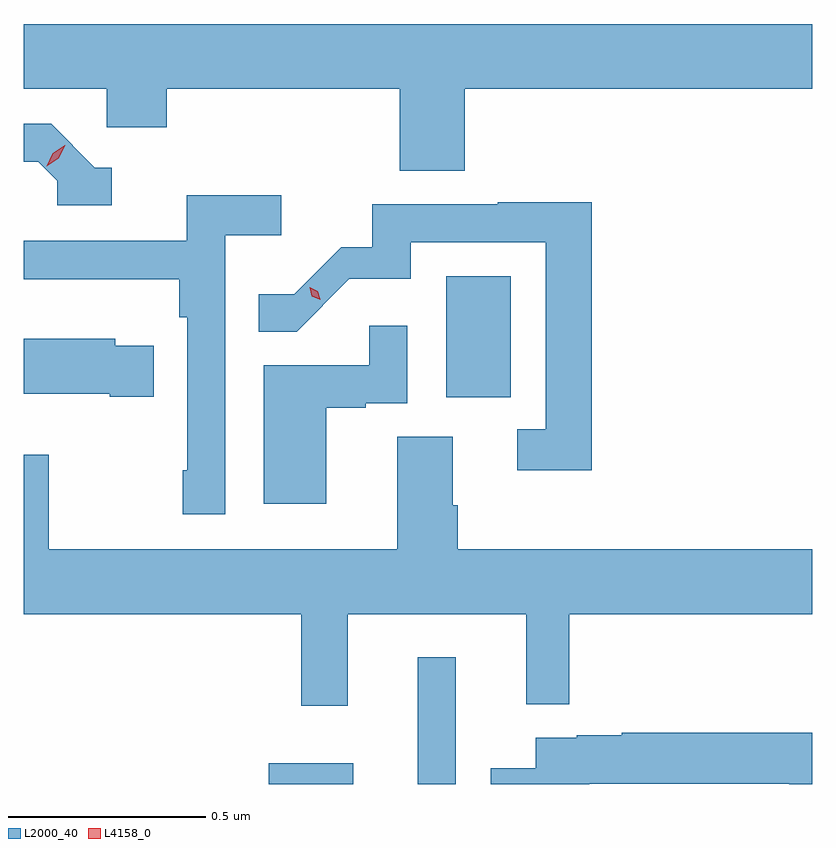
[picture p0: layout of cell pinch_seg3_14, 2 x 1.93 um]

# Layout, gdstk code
import gdstk
lib = gdstk.Library(unit=1e-6, precision=1e-09)
def R(c, l, rs):  # rectangles x0, y0, x1, y1
    for r in rs: c.add(gdstk.rectangle(r[:2], r[2:], *l))
def P(c, l, *ps):  # polygons
    for p in ps: c.add(gdstk.Polygon(p, *l))
L2000_40 = (2000, 40)
L4158_0 = (4158, 0)

pinch_seg3_14 = lib.new_cell('pinch_seg3_14')
R(pinch_seg3_14, L2000_40, [(1124.84,731.121,1125.055,731.173), (1125.218,731.121,1125.315,731.443), (1125.29,732.102,1125.454,732.409)])
P(pinch_seg3_14, L2000_40, [(1125.338,732.884),(1126.219,732.884),(1126.219,733.048),(1124.219,733.048),(1124.219,732.884),(1124.43,732.884),(1124.43,732.786),(1124.582,732.786),(1124.582,732.884),(1125.173,732.884),(1125.173,732.676),(1125.338,732.676)],
  [(1124.443,732.684),(1124.4,732.684),(1124.289,732.795),(1124.219,732.795),(1124.219,732.699),(1124.256,732.699),(1124.304,732.651),(1124.304,732.588),(1124.443,732.588)],
  [(1124.73,732.512),(1124.872,732.512),(1124.872,732.614),(1124.633,732.614),(1124.633,732.498),(1124.219,732.498),(1124.219,732.401),(1124.614,732.401),(1124.614,732.305),(1124.634,732.305),(1124.634,731.917),(1124.622,731.917),(1124.622,731.805),(1124.73,731.805)],
  [(1125.659,732.596),(1125.421,732.596),(1125.421,732.591),(1125.103,732.591),(1125.103,732.482),(1125.024,732.482),(1124.905,732.363),(1124.815,732.363),(1124.815,732.268),(1124.911,732.268),(1125.045,732.402),(1125.201,732.402),(1125.201,732.495),(1125.543,732.495),(1125.543,732.021),(1125.471,732.021),(1125.471,731.916),(1125.659,731.916)],
  [(1124.986,732.075),(1125.086,732.075),(1125.086,732.087),(1125.192,732.087),(1125.192,732.283),(1125.096,732.283),(1125.096,732.183),(1124.828,732.183),(1124.828,731.832),(1124.986,731.832)],
  [(1124.549,732.232),(1124.451,732.232),(1124.451,732.25),(1124.219,732.25),(1124.219,732.11),(1124.438,732.11),(1124.438,732.103),(1124.549,732.103)],
  [(1125.041,731.552),(1125.494,731.552),(1125.494,731.323),(1125.602,731.323),(1125.602,731.552),(1126.219,731.552),(1126.219,731.716),(1125.32,731.716),(1125.32,731.828),(1125.307,731.828),(1125.307,732.002),(1125.167,732.002),(1125.167,731.716),(1124.283,731.716),(1124.283,731.956),(1124.219,731.956),(1124.219,731.552),(1124.923,731.552),(1124.923,731.319),(1125.041,731.319)],
  [(1125.653,731.122),(1126.16,731.122),(1126.16,731.121),(1126.219,731.121),(1126.219,731.251),(1125.736,731.251),(1125.736,731.244),(1125.622,731.244),(1125.622,731.238),(1125.518,731.238),(1125.518,731.161),(1125.404,731.161),(1125.404,731.121),(1125.653,731.121)])
P(pinch_seg3_14, L4158_0, [(1124.971,732.349),(1124.95,732.358),(1124.944,732.38),(1124.944,732.38),(1124.944,732.38),(1124.965,732.371),(1124.971,732.35),(1124.971,732.349)],
  [(1124.278,732.687),(1124.278,732.687),(1124.293,732.72),(1124.323,732.74),(1124.324,732.74),(1124.324,732.74),(1124.308,732.707),(1124.278,732.687)])

lib.write_gds('pinch_seg3_14.gds')
